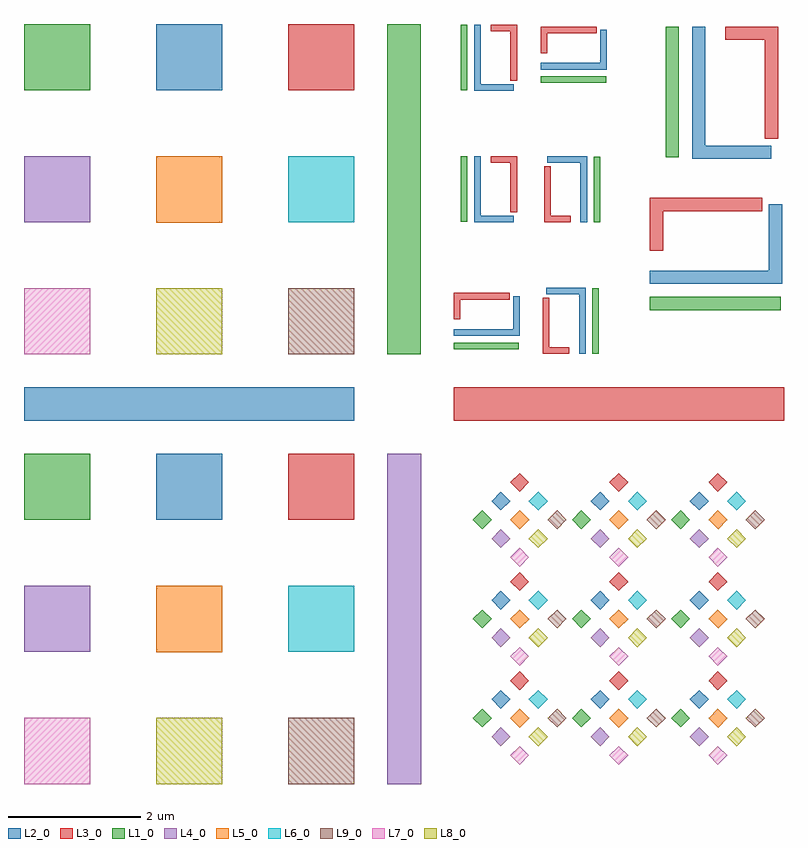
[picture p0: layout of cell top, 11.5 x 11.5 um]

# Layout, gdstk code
from math import pi, radians
import gdstk
lib = gdstk.Library(unit=1e-6, precision=1e-09)
def R(c, l, rs):  # rectangles x0, y0, x1, y1
    for r in rs: c.add(gdstk.rectangle(r[:2], r[2:], *l))
L1_0 = (1, 0)
L2_0 = (2, 0)
L3_0 = (3, 0)
L4_0 = (4, 0)
L5_0 = (5, 0)
L6_0 = (6, 0)
L7_0 = (7, 0)
L8_0 = (8, 0)
L9_0 = (9, 0)

squares = lib.new_cell('squares')
R(squares, L1_0, [(0,4,1,5)])
R(squares, L2_0, [(2,4,3,5)])
R(squares, L3_0, [(4,4,5,5)])
R(squares, L4_0, [(0,2,1,3)])
R(squares, L5_0, [(2,1.99,3,3)])
R(squares, L6_0, [(4,2,5,3)])
R(squares, L7_0, [(0,0,1,1)])
R(squares, L8_0, [(2,0,3,1)])
R(squares, L9_0, [(4,0,5,1)])
squares.add(gdstk.Label('1', (0.51,4.5), layer=1, texttype=0))
squares.add(gdstk.Label('2', (2.5,4.5), layer=2, texttype=0))
squares.add(gdstk.Label('3', (4.5,4.49), layer=3, texttype=0))
squares.add(gdstk.Label('4', (0.5,2.5), layer=4, texttype=0))
squares.add(gdstk.Label('5', (2.51,2.5), layer=5, texttype=0))
squares.add(gdstk.Label('6', (4.51,2.5), layer=6, texttype=0))
squares.add(gdstk.Label('7', (0.51,0.5), layer=7, texttype=0))
squares.add(gdstk.Label('8', (2.51,0.49), layer=8, texttype=0))
squares.add(gdstk.Label('9', (4.5,0.49), layer=9, texttype=0))

paths = lib.new_cell('paths')
paths.add(gdstk.FlexPath([(0.05,0.95),(0.05,0.06),(0.05,0.06),(0.05,0.06),(0.05,0.06)], 0.1, ends="extended", simple_path=True, layer=1, datatype=0))  # L1_0
paths.add(gdstk.FlexPath([(0.25,0.95),(0.25,0.05),(0.75,0.05)], 0.1, ends="round", simple_path=True, layer=2, datatype=0))  # L2_0
paths.add(gdstk.FlexPath([(0.45,0.95),(0.8,0.95),(0.8,0.15)], 0.1, ends="flush", simple_path=True, layer=3, datatype=0))  # L3_0

middle = lib.new_cell('middle')
middle.add(gdstk.Reference(squares, (0,6.5)))
middle.add(gdstk.Reference(paths, (6.61,10.49)))
middle.add(gdstk.Reference(squares, (0,0)))
middle.add(gdstk.Reference(paths, (6.61,8.5)))
middle.add(gdstk.Reference(paths, (7.5,6.58), rotation=pi/2))
middle.add(gdstk.Reference(paths, (8.82,10.61), rotation=pi/2))
middle.add(gdstk.Reference(paths, (8.72,9.5), rotation=pi))
middle.add(gdstk.Reference(paths, (8.7,7.51), rotation=pi))
middle.add(gdstk.Reference(paths, (9.71,9.46), magnification=2))
middle.add(gdstk.Reference(paths, (11.47,7.17), rotation=pi/2, magnification=2))
r = gdstk.Reference(squares, (7.5,0.29), rotation=radians(45), magnification=0.2); r.repetition = gdstk.Repetition(3, 3, v1=(1.5,0), v2=(0,1.5)); middle.add(r)

top = lib.new_cell('top')
R(top, L1_0, [(5.5,6.5,6,11.5)])
R(top, L2_0, [(0,5.5,5,6)])
R(top, L3_0, [(6.5,5.5,11.5,6)])
R(top, L4_0, [(5.5,0,6.01,5)])
top.add(gdstk.Reference(middle, (0,0)))

lib.write_gds('top.gds')
